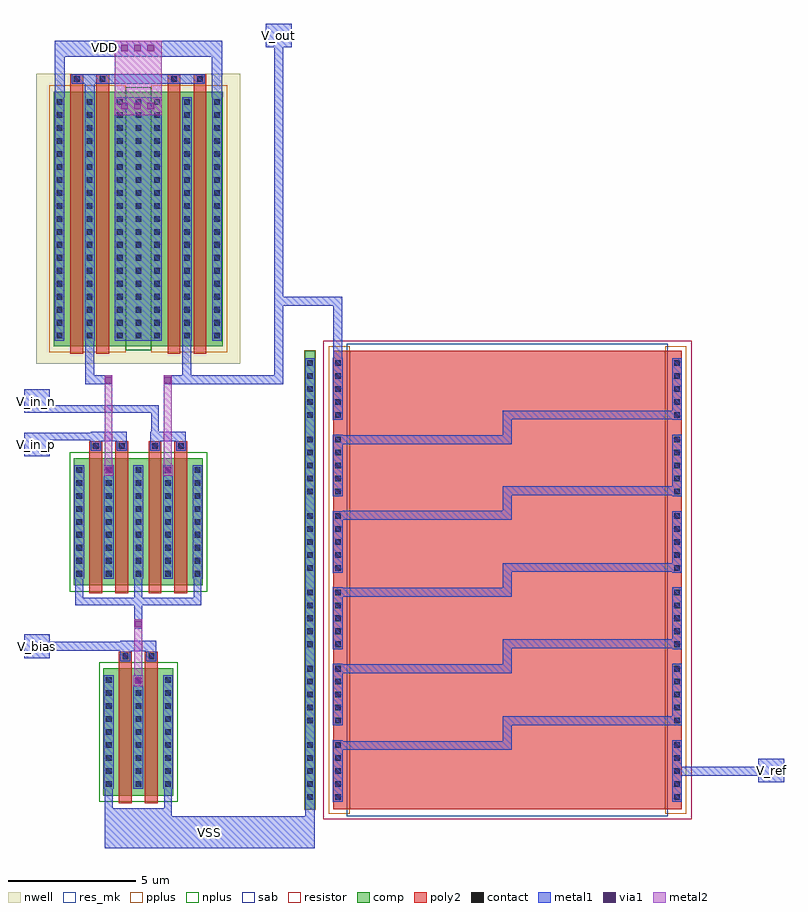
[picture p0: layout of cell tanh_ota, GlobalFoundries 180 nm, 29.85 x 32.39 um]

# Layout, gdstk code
from math import pi, radians
import gdstk
lib = gdstk.Library(unit=1e-6, precision=5e-09)
def R(c, l, rs):  # rectangles x0, y0, x1, y1
    for r in rs: c.add(gdstk.rectangle(r[:2], r[2:], *l))
def A(c, l, x, y, w, h, nx, ny, dx, dy):  # array of equal rectangles
    R(c, l, [(x+i*dx, y+j*dy, x+i*dx+w, y+j*dy+h) for i in range(nx) for j in range(ny)])
def P(c, l, *ps):  # polygons
    for p in ps: c.add(gdstk.Polygon(p, *l))
nwell = (21, 0)
comp = (22, 0)
poly2 = (30, 0)
pplus = (31, 0)
nplus = (32, 0)
contact = (33, 0)
metal1 = (34, 0)
via1 = (35, 0)
metal2 = (36, 0)
sab = (49, 0)
resistor = (62, 0)
res_mk = (110, 5)

nfet = lib.new_cell('nfet')
R(nfet, comp, [(-0.42,0,0,5), (0,0,1.9,5), (1.9,0,2.32,5)])
R(nfet, poly2, [(0.19,-0.3,0.69,5.3), (1.21,-0.3,1.71,5.3), (0.19,5.3,0.69,5.66), (1.21,5.3,1.71,5.66)])
R(nfet, nplus, [(-0.59,-0.24,2.49,5.24)])
A(nfet, contact, -0.32, 0.35, 0.22, 0.22, 3, 9, 1.16, 0.51)
R(nfet, contact, [(0.33,5.37,0.55,5.59), (1.35,5.37,1.57,5.59)])
A(nfet, metal1, -0.4, 0.27, 0.38, 4.46, 3, 1, 1.16, 0)
R(nfet, metal1, [(0.25,5.29,0.63,5.67), (1.27,5.29,1.65,5.67)])

ppolyf_u_high_rs_resisto = lib.new_cell('ppolyf_u_high_Rs_resistor')
A(ppolyf_u_high_rs_resisto, comp, -1.76, 0, 0.42, 3, 1, 6, 0, 3)
A(ppolyf_u_high_rs_resisto, poly2, -0.64, 0, 13.68, 3, 1, 6, 0, 3)
A(ppolyf_u_high_rs_resisto, pplus, -0.82, -0.18, 0.82, 3.36, 1, 6, 0, 3)
A(ppolyf_u_high_rs_resisto, pplus, 12.4, -0.18, 0.82, 3.36, 1, 6, 0, 3)
A(ppolyf_u_high_rs_resisto, pplus, -1.78, -0.02, 0.46, 3.04, 1, 6, 0, 3)
A(ppolyf_u_high_rs_resisto, contact, -1.66, 0.37, 0.22, 0.22, 1, 5, 0, 0.51)
A(ppolyf_u_high_rs_resisto, contact, -0.57, 0.37, 0.22, 0.22, 1, 5, 0, 0.51)
A(ppolyf_u_high_rs_resisto, contact, 12.75, 0.37, 0.22, 0.22, 1, 5, 0, 0.51)
A(ppolyf_u_high_rs_resisto, contact, -1.66, 3.37, 0.22, 0.22, 1, 5, 0, 0.51)
A(ppolyf_u_high_rs_resisto, contact, -0.57, 3.37, 0.22, 0.22, 1, 5, 0, 0.51)
A(ppolyf_u_high_rs_resisto, contact, 12.75, 3.37, 0.22, 0.22, 1, 5, 0, 0.51)
A(ppolyf_u_high_rs_resisto, contact, -1.66, 6.37, 0.22, 0.22, 1, 5, 0, 0.51)
A(ppolyf_u_high_rs_resisto, contact, -0.57, 6.37, 0.22, 0.22, 1, 5, 0, 0.51)
A(ppolyf_u_high_rs_resisto, contact, 12.75, 6.37, 0.22, 0.22, 1, 5, 0, 0.51)
A(ppolyf_u_high_rs_resisto, contact, -1.66, 9.37, 0.22, 0.22, 1, 5, 0, 0.51)
A(ppolyf_u_high_rs_resisto, contact, -0.57, 9.37, 0.22, 0.22, 1, 5, 0, 0.51)
A(ppolyf_u_high_rs_resisto, contact, 12.75, 9.37, 0.22, 0.22, 1, 5, 0, 0.51)
A(ppolyf_u_high_rs_resisto, contact, -1.66, 12.37, 0.22, 0.22, 1, 5, 0, 0.51)
A(ppolyf_u_high_rs_resisto, contact, -0.57, 12.37, 0.22, 0.22, 1, 5, 0, 0.51)
A(ppolyf_u_high_rs_resisto, contact, 12.75, 12.37, 0.22, 0.22, 1, 5, 0, 0.51)
A(ppolyf_u_high_rs_resisto, contact, -1.66, 15.37, 0.22, 0.22, 1, 5, 0, 0.51)
A(ppolyf_u_high_rs_resisto, contact, -0.57, 15.37, 0.22, 0.22, 1, 5, 0, 0.51)
A(ppolyf_u_high_rs_resisto, contact, 12.75, 15.37, 0.22, 0.22, 1, 5, 0, 0.51)
A(ppolyf_u_high_rs_resisto, metal1, -1.74, 0.29, 0.38, 2.42, 1, 6, 0, 3)
A(ppolyf_u_high_rs_resisto, metal1, -0.65, 0.29, 0.38, 2.42, 1, 6, 0, 3)
A(ppolyf_u_high_rs_resisto, metal1, 12.67, 0.29, 0.38, 2.42, 1, 6, 0, 3)
A(ppolyf_u_high_rs_resisto, sab, -0.1, -0.28, 12.6, 3.56, 1, 6, 0, 3)
A(ppolyf_u_high_rs_resisto, resistor, -1.04, -0.4, 14.48, 3.8, 1, 6, 0, 3)
A(ppolyf_u_high_rs_resisto, res_mk, 0, 0, 12.4, 3, 1, 6, 0, 3)

pfet = lib.new_cell('pfet')
R(pfet, nwell, [(-1.15,-0.69,3.78,10.69)])
R(pfet, comp, [(-0.46,0,0,10), (0,0,1.9,10), (1.9,0,2.36,10), (2.36,0,3.09,10)])
R(pfet, poly2, [(0.19,-0.3,0.69,10.3), (1.21,-0.3,1.71,10.3), (0.19,10.3,0.69,10.68), (1.21,10.3,1.71,10.68)])
R(pfet, pplus, [(-0.63,-0.24,2.36,10.24)])
R(pfet, nplus, [(2.36,-0.17,3.26,10.17)])
A(pfet, contact, -0.34, 0.3, 0.22, 0.22, 3, 19, 1.18, 0.51)
A(pfet, contact, 2.75, 0.3, 0.22, 0.22, 1, 19, 0, 0.51)
R(pfet, contact, [(0.33,10.38,0.55,10.6), (1.35,10.38,1.57,10.6)])
A(pfet, metal1, -0.42, 0.22, 0.38, 9.56, 3, 1, 1.18, 0)
R(pfet, metal1, [(2.67,0.22,3.05,9.78), (0.25,10.3,0.63,10.68), (1.27,10.3,1.65,10.68)])

tanh_ota = lib.new_cell('tanh_ota')
R(tanh_ota, metal1, [(2.175,2.005,10.42,3.27), (10.04,3.27,10.42,21.25), (27.835,4.605,28.845,5.53), (-1.005,9.48,0.005,10.405), (2.785,9.74,4.185,10.155), (-1.005,17.405,0.005,18.33), (1.625,18,3.025,18.36), (3.945,18,5.345,18.36), (-1.005,19.105,0.005,20.03), (2.565,21.95,4.405,31.51), (1.385,31.51,1.765,32.03), (0.875,32.03,6.095,32.41), (8.495,33.47,9.505,34.395)])
P(tanh_ota, metal1, [(0.195,31.51),(0.195,33.725),(6.775,33.725),(6.775,31.51),(6.375,31.51),(6.375,33.09),(0.595,33.09),(0.595,31.51)],
  [(3.335,10.62),(3.335,11.545),(1.015,11.545),(1.015,12.6),(1.315,12.6),(1.315,11.845),(3.335,11.845),(3.335,12.6),(3.635,12.6),(3.635,11.845),(5.655,11.845),(5.655,12.6),(5.955,12.6),(5.955,11.545),(3.635,11.545),(3.635,10.62)])
A(tanh_ota, via1, 2.805, 31.035, 0.26, 0.26, 3, 2, 0.52, 2.27)
R(tanh_ota, via1, [(3.36,8.465,3.62,8.725), (3.36,10.68,3.62,10.94), (2.195,16.735,2.455,16.995), (4.515,16.735,4.775,16.995), (2.195,20.27,2.455,20.53), (4.515,20.27,4.775,20.53)])
P(tanh_ota, via1, [(3.53,8.56),(3.53,8.56),(3.53,8.56),(3.53,8.56)],
  [(2.365,16.83),(2.365,16.83),(2.365,16.83),(2.365,16.83)],
  [(4.685,16.83),(4.685,16.83),(4.685,16.83),(4.685,16.83)])
R(tanh_ota, metal2, [(3.295,8.37,3.675,8.8), (2.13,16.64,2.51,17.07), (4.45,16.64,4.83,17.07), (2.565,30.795,4.405,33.725)])
tanh_ota.add(gdstk.FlexPath([(5.395,21.95),(5.395,20.415),(4.49,20.415)], 0.35, ends="flush", simple_path=True, layer=34, datatype=0))  # metal1
tanh_ota.add(gdstk.FlexPath([(1.575,21.95),(1.575,20.415),(2.47,20.415),(2.47,20.415)], 0.35, ends="flush", simple_path=True, layer=34, datatype=0))  # metal1
tanh_ota.add(gdstk.FlexPath([(4.135,18.36),(4.135,19.255),(0.005,19.255)], 0.3, ends="flush", simple_path=True, layer=34, datatype=0))  # metal1
tanh_ota.add(gdstk.FlexPath([(5.57,20.415),(9,20.415),(9,33.72),(9,33.72)], 0.35, ends="flush", simple_path=True, layer=34, datatype=0))  # metal1
tanh_ota.add(gdstk.FlexPath([(9.175,23.5),(11.32,23.5),(11.32,21.25),(11.32,21.25)], 0.35, ends="flush", simple_path=True, layer=34, datatype=0))  # metal1
tanh_ota.add(gdstk.FlexPath([(24.45,19.025),(17.98,19.025),(17.98,18.05),(11.51,18.05)], 0.35, ends="flush", simple_path=True, layer=34, datatype=0))  # metal1
tanh_ota.add(gdstk.FlexPath([(24.45,7.02),(17.98,7.02),(17.98,6.045),(11.51,6.045)], 0.35, ends="flush", simple_path=True, layer=34, datatype=0))  # metal1
tanh_ota.add(gdstk.FlexPath([(24.45,10.04),(17.98,10.04),(17.98,9.065),(11.51,9.065)], 0.35, ends="flush", simple_path=True, layer=34, datatype=0))  # metal1
tanh_ota.add(gdstk.FlexPath([(24.45,13.035),(17.98,13.035),(17.98,12.06),(11.51,12.06)], 0.35, ends="flush", simple_path=True, layer=34, datatype=0))  # metal1
tanh_ota.add(gdstk.FlexPath([(24.45,16.055),(17.98,16.055),(17.98,15.08),(11.51,15.08)], 0.35, ends="flush", simple_path=True, layer=34, datatype=0))  # metal1
tanh_ota.add(gdstk.FlexPath([(24.83,5.04),(27.99,5.04)], 0.35, ends="flush", simple_path=True, layer=34, datatype=0))  # metal1
tanh_ota.add(gdstk.FlexPath([(2.785,9.95),(0,9.95)], 0.35, ends="flush", simple_path=True, layer=34, datatype=0))  # metal1
tanh_ota.add(gdstk.FlexPath([(2.325,4.34),(2.325,3.42),(4.645,3.42),(4.645,4.34),(4.645,4.34)], 0.3, ends="flush", simple_path=True, layer=34, datatype=0))  # metal1
tanh_ota.add(gdstk.FlexPath([(1.625,18.18),(0,18.18)], 0.3, ends="flush", simple_path=True, layer=34, datatype=0))  # metal1
tanh_ota.add(gdstk.FlexPath([(2.32,17.07),(2.32,19.27),(2.32,20.59)], 0.3, ends="flush", simple_path=True, layer=36, datatype=0))  # metal2
tanh_ota.add(gdstk.FlexPath([(4.64,17.07),(4.64,19.27),(4.64,20.59)], 0.3, ends="flush", simple_path=True, layer=36, datatype=0))  # metal2
tanh_ota.add(gdstk.FlexPath([(3.485,8.8),(3.485,11),(3.485,11)], 0.3, ends="flush", simple_path=True, layer=36, datatype=0))  # metal2
tanh_ota.add(gdstk.Reference(nfet, (1.375,12.33)))
tanh_ota.add(gdstk.Reference(nfet, (3.695,12.33)))
tanh_ota.add(gdstk.Reference(nfet, (2.535,4.07)))
tanh_ota.add(gdstk.Reference(ppolyf_u_high_rs_resisto, (11.78,3.54)))
tanh_ota.add(gdstk.Reference(pfet, (6.345,21.73), rotation=pi, x_reflection=True))
tanh_ota.add(gdstk.Reference(pfet, (0.625,21.73)))
tanh_ota.add(gdstk.Label('VSS', (6.295,2.635), layer=34, texttype=10))
tanh_ota.add(gdstk.Label('VDD', (2.145,33.445), layer=34, texttype=10))
tanh_ota.add(gdstk.Label('V_out', (9,33.93), layer=34, texttype=10))
tanh_ota.add(gdstk.Label('V_in_p', (-0.5,17.865), layer=34, texttype=10))
tanh_ota.add(gdstk.Label('V_in_n', (-0.5,19.565), layer=34, texttype=10))
tanh_ota.add(gdstk.Label('V_ref', (28.34,5.065), layer=34, texttype=10))
tanh_ota.add(gdstk.Label('V_bias', (-0.5,9.94), layer=34, texttype=10))

lib.write_gds('tanh_ota.gds')
